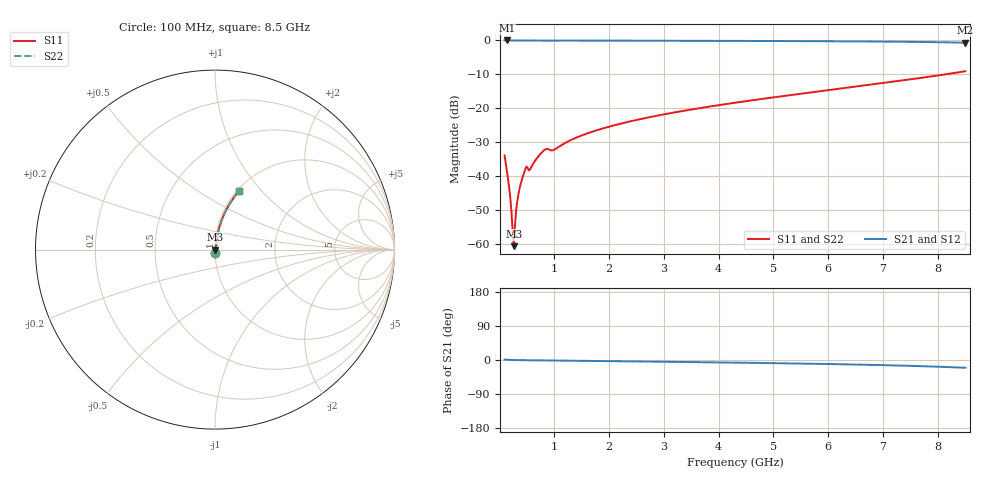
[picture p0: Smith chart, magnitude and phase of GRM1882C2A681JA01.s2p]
!Murata Part Number: GRM1882C2A681JA01
!These Parameters are Measured in Series Mode Connection
!Data Generated on Mar 30, 2021
!  o--ll--o
!Port1  Port2
!  o------o
!Operation Temp=25[degC], DC Bias Voltage=0[V]
!Freq. Start=100[MHz] Stop=9[GHz] 401[Steps]
# Hz S RI R 50
!Freq.(Hz) S11(Real) S11(Imag) S21(Real) S21(Imag) S12(Real) S12(Imag) S22(Real) S22(Imag)
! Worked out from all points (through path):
!   401 points, 100 MHz to 8.5 GHz, reference 50 ohm
!   highest |S21| = -0.01 dB at 142 MHz (marker M1); lowest = -0.7 dB at 8.5 GHz (marker M2)
!   group delay of S21, straight-line fit = 6.1 ps
!   lowest |S11| = -60.8 dB at 268 MHz (marker M3), VSWR 1.00, Z = 50.1 + j0.0239 ohm
!   |S11| at or under -10 dB: start of sweep to 8.142 GHz
!   |S22| runs from -60.8 to -9.1 dB; largest |S21 - S12| = 0
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1e8  0.000955 -0.02  0.999 0.02  0.999 0.02  0.000955 -0.02
1.42e8  0.000745 -0.0117  0.9993 0.0117  0.9993 0.0117  0.000745 -0.0117
1.84e8  0.000724 -0.00657  0.9993 0.00657  0.9993 0.00657  0.000724 -0.00657
2.26e8  0.000781 -0.0028  0.9992 0.0028  0.9992 0.0028  0.000781 -0.0028
2.47e8  0.000828 -0.00121  0.9992 0.00121  0.9992 0.00121  0.000828 -0.00121
2.68e8  0.000885 0.000238  0.9991 -0.000238  0.9991 -0.000238  0.000885 0.000238
2.89e8  0.000952 0.00159  0.999 -0.00159  0.999 -0.00159  0.000952 0.00159
3.1e8  0.00103 0.00286  0.999 -0.00286  0.999 -0.00286  0.00103 0.00286
3.31e8  0.00112 0.00407  0.9989 -0.00407  0.9989 -0.00407  0.00112 0.00407
3.73e8  0.00134 0.00638  0.9987 -0.00638  0.9987 -0.00638  0.00134 0.00638
4.36e8  0.00193 0.0098  0.9981 -0.0098  0.9981 -0.0098  0.00193 0.0098
4.78e8  0.00312 0.0122  0.9969 -0.0122  0.9969 -0.0122  0.00312 0.0122
5.83e8  0.0031 0.013  0.9969 -0.013  0.9969 -0.013  0.0031 0.013
8.35e8  0.00656 0.0235  0.9934 -0.0235  0.9934 -0.0235  0.00656 0.0235
1.003e9  0.00652 0.0234  0.9935 -0.0234  0.9935 -0.0234  0.00652 0.0234
1.507e9  0.00639 0.039  0.9936 -0.039  0.9936 -0.039  0.00639 0.039
2.116e9  0.00898 0.0556  0.991 -0.0556  0.991 -0.0556  0.00898 0.0556
2.914e9  0.013 0.0774  0.987 -0.0774  0.987 -0.0774  0.013 0.0774
4.3e9  0.0226 0.1181  0.9774 -0.1181  0.9774 -0.1181  0.0226 0.1181
5.707e9  0.0387 0.1672  0.9613 -0.1672  0.9613 -0.1672  0.0387 0.1672
7.114e9  0.0682 0.2315  0.9318 -0.2315  0.9318 -0.2315  0.0682 0.2315
8.5e9  0.133 0.3245  0.867 -0.3245  0.867 -0.3245  0.133 0.3245
